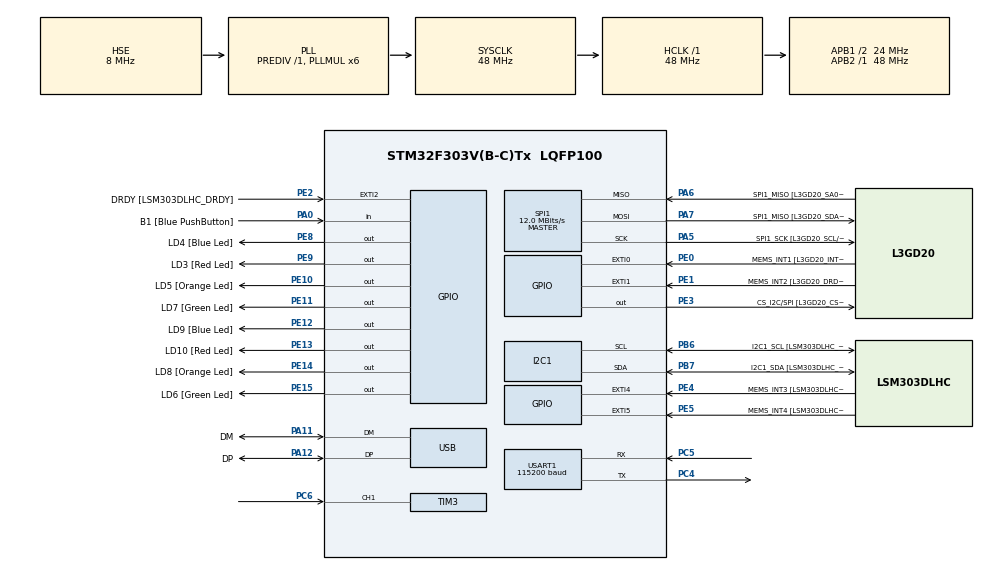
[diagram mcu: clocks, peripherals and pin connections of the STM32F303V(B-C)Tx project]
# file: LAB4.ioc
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I2C1.Timing=0x00201D2B
I2C1.Timing-I2C=0x2000090E
Mcu.Family=STM32F3
Mcu.Name=STM32F303V(B-C)Tx
Mcu.Package=LQFP100
NVIC.PriorityGroup=NVIC_PRIORITYGROUP_0
NVIC.TIM3_IRQn=true\:0\:0\:false\:false\:true\:true\:true\:true
PA0.GPIO_Label=B1 [Blue PushButton]
PA0.Signal=GPIO_Input
PA11.GPIO_Label=DM
PA11.Mode=Device
PA11.Signal=USB_DM
PA12.GPIO_Label=DP
PA12.Mode=Device
PA12.Signal=USB_DP
PA13.GPIO_Label=SWDIO
PA13.Mode=Serial_Wire
PA13.Signal=SYS_JTMS-SWDIO
PA14.GPIO_Label=SWCLK
PA14.Mode=Serial_Wire
PA14.Signal=SYS_JTCK-SWCLK
PA5.GPIO_Label=SPI1_SCK [L3GD20_SCL/SPC]
PA5.Mode=Full_Duplex_Master
PA5.Signal=SPI1_SCK
PA6.GPIO_Label=SPI1_MISO [L3GD20_SA0/SDO]
PA6.Mode=Full_Duplex_Master
PA6.Signal=SPI1_MISO
PA7.GPIO_Label=SPI1_MISO [L3GD20_SDA/SDI/SDO]
PA7.Mode=Full_Duplex_Master
PA7.Signal=SPI1_MOSI
PB3.GPIO_Label=SWO
PB3.Signal=SYS_JTDO-TRACESWO
PB6.GPIO_Label=I2C1_SCL [LSM303DLHC_SCL]
PB6.GPIO_Pu=GPIO_PULLUP
PB6.Mode=I2C
PB6.Signal=I2C1_SCL
PB7.GPIO_Label=I2C1_SDA [LSM303DLHC_SDA]
PB7.GPIO_Pu=GPIO_PULLUP
PB7.Mode=I2C
PB7.Signal=I2C1_SDA
PC14-OSC32_IN.GPIO_Label=OSC32_IN
PC14-OSC32_IN.Signal=RCC_OSC32_IN
PC15-OSC32_OUT.GPIO_Label=OSC32_OUT
PC15-OSC32_OUT.Signal=RCC_OSC32_OUT
PC4.Mode=Asynchronous
PC4.Signal=USART1_TX
PC5.Mode=Asynchronous
PC5.Signal=USART1_RX
PC6.Signal=S_TIM3_CH1
PE0.GPIO_Label=MEMS_INT1 [L3GD20_INT1]
PE0.GPIO_ModeDefaultEXTI=GPIO_MODE_EVT_RISING
PE0.Signal=GPXTI0
PE1.GPIO_Label=MEMS_INT2 [L3GD20_DRDY/INT2]
PE1.GPIO_ModeDefaultEXTI=GPIO_MODE_EVT_RISING
PE1.Signal=GPXTI1
PE10.GPIO_Label=LD5 [Orange Led]
PE10.Signal=GPIO_Output
PE11.GPIO_Label=LD7 [Green Led]
PE11.Signal=GPIO_Output
PE12.GPIO_Label=LD9 [Blue Led]
PE12.Signal=GPIO_Output
PE13.GPIO_Label=LD10 [Red Led]
PE13.Signal=GPIO_Output
PE14.GPIO_Label=LD8 [Orange Led]
PE14.Signal=GPIO_Output
PE15.GPIO_Label=LD6 [Green Led]
PE15.Signal=GPIO_Output
PE2.GPIO_Label=DRDY [LSM303DLHC_DRDY]
PE2.GPIO_ModeDefaultEXTI=GPIO_MODE_EVT_RISING
PE2.Signal=GPXTI2
PE3.GPIO_Label=CS_I2C/SPI [L3GD20_CS_I2C/SPI]
PE3.Signal=GPIO_Output
PE4.GPIO_Label=MEMS_INT3 [LSM303DLHC_INT1]
PE4.GPIO_ModeDefaultEXTI=GPIO_MODE_EVT_RISING
PE4.Signal=GPXTI4
PE5.GPIO_Label=MEMS_INT4 [LSM303DLHC_INT2]
PE5.GPIO_ModeDefaultEXTI=GPIO_MODE_EVT_RISING
PE5.Signal=GPXTI5
PE8.GPIO_Label=LD4 [Blue Led]
PE8.Signal=GPIO_Output
PE9.GPIO_Label=LD3 [Red Led]
PE9.Signal=GPIO_Output
PF0-OSC_IN.GPIO_Label=OSC_IN
PF0-OSC_IN.Mode=HSE-External-Clock-Source
PF0-OSC_IN.Signal=RCC_OSC_IN
PF1-OSC_OUT.GPIO_Label=OSC_OUT
PF1-OSC_OUT.Signal=RCC_OSC_OUT
ProjectManager.HeapSize=0x200
ProjectManager.StackSize=0x400
ProjectManager.TargetToolchain=CMake
RCC.AHBFreq_Value=48000000
RCC.APB1CLKDivider=RCC_HCLK_DIV2
RCC.APB1Freq_Value=24000000
RCC.APB1TimFreq_Value=48000000
RCC.APB2Freq_Value=48000000
RCC.APB2TimFreq_Value=48000000
RCC.CortexFreq_Value=48000000
RCC.HCLKFreq_Value=48000000
RCC.HSE_VALUE=8000000
RCC.HSI_VALUE=8000000
RCC.LSE_VALUE=32768
RCC.PLLMUL=RCC_PLL_MUL6
RCC.SYSCLKFreq_VALUE=48000000
RCC.SYSCLKSourceVirtual=RCC_SYSCLKSOURCE_PLLCLK
RCC.USBFreq_Value=48000000
SH.S_TIM3_CH1.0=TIM3_CH1,Input_Capture1_from_TI1
SPI1.BaudRatePrescaler=SPI_BAUDRATEPRESCALER_4
SPI1.BaudRatePrescaler-Full_Duplex_Master=SPI_BAUDRATEPRESCALER_2
SPI1.CalculateBaudRate=12.0 MBits/s
SPI1.CalculateBaudRate-Full_Duplex_Master=24.0 MBits/s
SPI1.Direction=SPI_DIRECTION_2LINES
SPI1.Mode=SPI_MODE_MASTER
SPI1.Mode-Full_Duplex_Master=SPI_MODE_MASTER
SPI1.VirtualType=VM_MASTER
TIM3.Channel-Input_Capture1_from_TI1=TIM_CHANNEL_1
USART1.BaudRate=115200
USART1.VirtualMode-Asynchronous=VM_ASYNC
board=STM32F3DISCOVERY

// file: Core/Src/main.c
/* USER CODE BEGIN Header */
/**
  ******************************************************************************
  * @file           : main.c
  * @brief          : Main program body
  ******************************************************************************
  * @attention
  *
  * Copyright (c) 2026 STMicroelectronics.
  * All rights reserved.
  *
  * This software is licensed under terms that can be found in the LICENSE file
  * in the root directory of this software component.
  * If no LICENSE file comes with this software, it is provided AS-IS.
  *
  ******************************************************************************
  */
/* USER CODE END Header */
#include "main.h"

/* USER CODE BEGIN Includes */
#include <stdio.h>
/* USER CODE END Includes */

I2C_HandleTypeDef hi2c1;

SPI_HandleTypeDef hspi1;

TIM_HandleTypeDef htim3;

UART_HandleTypeDef huart1;

PCD_HandleTypeDef hpcd_USB_FS;

/* USER CODE BEGIN PV */

//TASK3
// volatile uint32_t countA = 0;
// volatile uint32_t countB = 0;
// volatile uint32_t countC = 0;

volatile uint32_t last_capture = 0;
volatile uint32_t period_ticks = 0;
volatile uint32_t frequency_hz = 0;

#define TIM3_TICK_HZ 1000000UL

/* USER CODE END PV */

void SystemClock_Config(void);
static void MX_GPIO_Init(void);
static void MX_I2C1_Init(void);
static void MX_SPI1_Init(void);
static void MX_USB_PCD_Init(void);
static void MX_TIM3_Init(void);
static void MX_USART1_UART_Init(void);

/* USER CODE BEGIN 0 */
// Redirect printf to UART terminal
int _write(int file, char *ptr, int len)
{
    HAL_UART_Transmit(&huart1, (uint8_t *)ptr, len, HAL_MAX_DELAY);
    return len;
}
// int _write(int file, char *ptr, int len)
// {
//     HAL_UART_Transmit(&huart1, (uint8_t *)ptr, len, HAL_MAX_DELAY);
//     return len;
// }
//task2
  // void HAL_TIM_PeriodElapsedCallback(TIM_HandleTypeDef *htim)
  // {
  //   if (htim -> Instance == TIM2) {
  //     HAL_GPIO_TogglePin(GPIOE,LD6_Pin);
  //   }
  // }

  //TASK3
  // void HAL_TIM_PeriodElapsedCallback(TIM_HandleTypeDef *htim)
  // {
  //   if (htim->Instance == TIM2)
  //     {

  //         countA++;
  //         countB++;
  //         countC++;
  //         // ORANGE LED 500 ms (1 Hz frequency)
  //         if (countA >= 500)
  //         {
  //             HAL_GPIO_TogglePin(LD5_GPIO_Port, LD5_Pin);
  //             countA = 0;
  //         }

  //         // RED LED 200 ms (2.5 Hz frequency)
  //         if (countB >= 200)
  //         {
  //             HAL_GPIO_TogglePin(LD3_GPIO_Port, LD3_Pin);
  //             countB = 0;
  //         }

  //         // BLUE LED 100 ms (5 Hz frequency)
  //         if (countC >= 100)
  //         {
  //             HAL_GPIO_TogglePin(LD4_GPIO_Port, LD4_Pin);
  //             countC = 0;
  //         }
  //     }
  // }

  //TASK4
  //uint32_t last_capture = 0, period = 0;
  // void HAL_TIM_IC_CaptureCallback ( TIM_HandleTypeDef *htim) {
  //   if (htim -> Channel == HAL_TIM_ACTIVE_CHANNEL_1 ) {
  //     uint32_t current_capture = HAL_TIM_ReadCapturedValue (htim ,TIM_CHANNEL_1 );
  //     period = current_capture - last_capture ;
  //     last_capture = current_capture ;
  //   }
  // }

void HAL_TIM_IC_CaptureCallback(TIM_HandleTypeDef *htim)
{
    if (htim->Instance == TIM3 &&
        htim->Channel == HAL_TIM_ACTIVE_CHANNEL_1)
    {
        uint32_t current_capture =
            HAL_TIM_ReadCapturedValue(htim, TIM_CHANNEL_1);

        if (current_capture >= last_capture)
        {
            period_ticks = current_capture - last_capture;
        }
        else
        {
            period_ticks =
                (htim->Instance->ARR + 1U - last_capture)
                + current_capture;
        }

        last_capture = current_capture;

        if (period_ticks != 0)
        {
            frequency_hz = TIM3_TICK_HZ / period_ticks;
        }
    }
}
/* USER CODE END 0 */

int main(void)
{

  /* USER CODE BEGIN 1 */

  //task1
  // void delay_ms( uint32_t ms)
  // {
  //   __HAL_TIM_SET_COUNTER(&htim2, 0); //resets to 0

  //   HAL_TIM_Base_Start(&htim2); //starts the timer

  //   while (__HAL_TIM_GET_COUNTER(&htim2) < ms){

  //   }

  //   HAL_TIM_Base_Stop(&htim2);

  // }

  /* USER CODE END 1 */

  /* MCU Configuration--------------------------------------------------------*/

  /* Reset of all peripherals, Initializes the Flash interface and the Systick. */
  HAL_Init();

  /* Configure the system clock */
  SystemClock_Config();

  /* Initialize all configured peripherals */
  MX_GPIO_Init();
  MX_I2C1_Init();
  MX_SPI1_Init();
  MX_USB_PCD_Init();
  MX_TIM3_Init();
  MX_USART1_UART_Init();
  /* USER CODE BEGIN 2 */

  //task2 AND TASK3
  // HAL_TIM_Base_Start_IT (& htim2);

  //task4
  HAL_TIM_IC_Start_IT (& htim3 , TIM_CHANNEL_1 );

  /* USER CODE END 2 */

  /* Infinite loop */
  while (1)
  {

    /* USER CODE BEGIN 3 */

    //task 1
    //HAL_GPIO_TogglePin(LD9_GPIO_Port, LD9_Pin);
    //delay_ms(1000); // 1-second delays
    printf("HELLO FROM STM32!\r\n");
    HAL_Delay(1000);

    // task 4
    printf("Period: %lu us | Frequency: %lu Hz\r\n",
           period_ticks, frequency_hz);

    HAL_Delay(200);

  }
  /* USER CODE END 3 */
}

void SystemClock_Config(void)
{
  RCC_OscInitTypeDef RCC_OscInitStruct = {0};
  RCC_ClkInitTypeDef RCC_ClkInitStruct = {0};
  RCC_PeriphCLKInitTypeDef PeriphClkInit = {0};

  /** Initializes the RCC Oscillators according to the specified parameters
  * in the RCC_OscInitTypeDef structure.
  */
  RCC_OscInitStruct.OscillatorType = RCC_OSCILLATORTYPE_HSI|RCC_OSCILLATORTYPE_HSE;
  RCC_OscInitStruct.HSEState = RCC_HSE_BYPASS;
  RCC_OscInitStruct.HSEPredivValue = RCC_HSE_PREDIV_DIV1;
  RCC_OscInitStruct.HSIState = RCC_HSI_ON;
  RCC_OscInitStruct.HSICalibrationValue = RCC_HSICALIBRATION_DEFAULT;
  RCC_OscInitStruct.PLL.PLLState = RCC_PLL_ON;
  RCC_OscInitStruct.PLL.PLLSource = RCC_PLLSOURCE_HSE;
  RCC_OscInitStruct.PLL.PLLMUL = RCC_PLL_MUL6;
  if (HAL_RCC_OscConfig(&RCC_OscInitStruct) != HAL_OK)
  {
    Error_Handler();
  }

  /** Initializes the CPU, AHB and APB buses clocks
  */
  RCC_ClkInitStruct.ClockType = RCC_CLOCKTYPE_HCLK|RCC_CLOCKTYPE_SYSCLK
                              |RCC_CLOCKTYPE_PCLK1|RCC_CLOCKTYPE_PCLK2;
  RCC_ClkInitStruct.SYSCLKSource = RCC_SYSCLKSOURCE_PLLCLK;
  RCC_ClkInitStruct.AHBCLKDivider = RCC_SYSCLK_DIV1;
  RCC_ClkInitStruct.APB1CLKDivider = RCC_HCLK_DIV2;
  RCC_ClkInitStruct.APB2CLKDivider = RCC_HCLK_DIV1;

  if (HAL_RCC_ClockConfig(&RCC_ClkInitStruct, FLASH_LATENCY_1) != HAL_OK)
  {
    Error_Handler();
  }
  PeriphClkInit.PeriphClockSelection = RCC_PERIPHCLK_USB|RCC_PERIPHCLK_USART1
                              |RCC_PERIPHCLK_I2C1;
  PeriphClkInit.Usart1ClockSelection = RCC_USART1CLKSOURCE_PCLK2;
  PeriphClkInit.I2c1ClockSelection = RCC_I2C1CLKSOURCE_HSI;
  PeriphClkInit.USBClockSelection = RCC_USBCLKSOURCE_PLL;
  if (HAL_RCCEx_PeriphCLKConfig(&PeriphClkInit) != HAL_OK)
  {
    Error_Handler();
  }
}

static void MX_I2C1_Init(void)
{

  hi2c1.Instance = I2C1;
  hi2c1.Init.Timing = 0x00201D2B;
  hi2c1.Init.OwnAddress1 = 0;
  hi2c1.Init.AddressingMode = I2C_ADDRESSINGMODE_7BIT;
  hi2c1.Init.DualAddressMode = I2C_DUALADDRESS_DISABLE;
  hi2c1.Init.OwnAddress2 = 0;
  hi2c1.Init.OwnAddress2Masks = I2C_OA2_NOMASK;
  hi2c1.Init.GeneralCallMode = I2C_GENERALCALL_DISABLE;
  hi2c1.Init.NoStretchMode = I2C_NOSTRETCH_DISABLE;
  if (HAL_I2C_Init(&hi2c1) != HAL_OK)
  {
    Error_Handler();
  }

  /** Configure Analogue filter
  */
  if (HAL_I2CEx_ConfigAnalogFilter(&hi2c1, I2C_ANALOGFILTER_ENABLE) != HAL_OK)
  {
    Error_Handler();
  }

  /** Configure Digital filter
  */
  if (HAL_I2CEx_ConfigDigitalFilter(&hi2c1, 0) != HAL_OK)
  {
    Error_Handler();
  }

}

static void MX_SPI1_Init(void)
{

  /* SPI1 parameter configuration*/
  hspi1.Instance = SPI1;
  hspi1.Init.Mode = SPI_MODE_MASTER;
  hspi1.Init.Direction = SPI_DIRECTION_2LINES;
  hspi1.Init.DataSize = SPI_DATASIZE_4BIT;
  hspi1.Init.CLKPolarity = SPI_POLARITY_LOW;
  hspi1.Init.CLKPhase = SPI_PHASE_1EDGE;
  hspi1.Init.NSS = SPI_NSS_SOFT;
  hspi1.Init.BaudRatePrescaler = SPI_BAUDRATEPRESCALER_4;
  hspi1.Init.FirstBit = SPI_FIRSTBIT_MSB;
  hspi1.Init.TIMode = SPI_TIMODE_DISABLE;
  hspi1.Init.CRCCalculation = SPI_CRCCALCULATION_DISABLE;
  hspi1.Init.CRCPolynomial = 7;
  hspi1.Init.CRCLength = SPI_CRC_LENGTH_DATASIZE;
  hspi1.Init.NSSPMode = SPI_NSS_PULSE_ENABLE;
  if (HAL_SPI_Init(&hspi1) != HAL_OK)
  {
    Error_Handler();
  }

}

static void MX_TIM3_Init(void)
{

  TIM_MasterConfigTypeDef sMasterConfig = {0};
  TIM_IC_InitTypeDef sConfigIC = {0};

  htim3.Instance = TIM3;
  htim3.Init.Prescaler = 47;
  htim3.Init.CounterMode = TIM_COUNTERMODE_UP;
  htim3.Init.Period = 65535;
  htim3.Init.ClockDivision = TIM_CLOCKDIVISION_DIV1;
  htim3.Init.AutoReloadPreload = TIM_AUTORELOAD_PRELOAD_DISABLE;
  if (HAL_TIM_IC_Init(&htim3) != HAL_OK)
  {
    Error_Handler();
  }
  sMasterConfig.MasterOutputTrigger = TIM_TRGO_RESET;
  sMasterConfig.MasterSlaveMode = TIM_MASTERSLAVEMODE_DISABLE;
  if (HAL_TIMEx_MasterConfigSynchronization(&htim3, &sMasterConfig) != HAL_OK)
  {
    Error_Handler();
  }
  sConfigIC.ICPolarity = TIM_INPUTCHANNELPOLARITY_RISING;
  sConfigIC.ICSelection = TIM_ICSELECTION_DIRECTTI;
  sConfigIC.ICPrescaler = TIM_ICPSC_DIV1;
  sConfigIC.ICFilter = 0;
  if (HAL_TIM_IC_ConfigChannel(&htim3, &sConfigIC, TIM_CHANNEL_1) != HAL_OK)
  {
    Error_Handler();
  }

}

static void MX_USART1_UART_Init(void)
{

  huart1.Instance = USART1;
  huart1.Init.BaudRate = 115200;
  huart1.Init.WordLength = UART_WORDLENGTH_8B;
  huart1.Init.StopBits = UART_STOPBITS_1;
  huart1.Init.Parity = UART_PARITY_NONE;
  huart1.Init.Mode = UART_MODE_TX_RX;
  huart1.Init.HwFlowCtl = UART_HWCONTROL_NONE;
  huart1.Init.OverSampling = UART_OVERSAMPLING_16;
  huart1.Init.OneBitSampling = UART_ONE_BIT_SAMPLE_DISABLE;
  huart1.AdvancedInit.AdvFeatureInit = UART_ADVFEATURE_NO_INIT;
  if (HAL_UART_Init(&huart1) != HAL_OK)
  {
    Error_Handler();
  }

}

static void MX_USB_PCD_Init(void)
{

  hpcd_USB_FS.Instance = USB;
  hpcd_USB_FS.Init.dev_endpoints = 8;
  hpcd_USB_FS.Init.speed = PCD_SPEED_FULL;
  hpcd_USB_FS.Init.phy_itface = PCD_PHY_EMBEDDED;
  hpcd_USB_FS.Init.low_power_enable = DISABLE;
  hpcd_USB_FS.Init.battery_charging_enable = DISABLE;
  if (HAL_PCD_Init(&hpcd_USB_FS) != HAL_OK)
  {
    Error_Handler();
  }

}

static void MX_GPIO_Init(void)
{
  GPIO_InitTypeDef GPIO_InitStruct = {0};

  /* GPIO Ports Clock Enable */
  __HAL_RCC_GPIOE_CLK_ENABLE();
  __HAL_RCC_GPIOC_CLK_ENABLE();
  __HAL_RCC_GPIOF_CLK_ENABLE();
  __HAL_RCC_GPIOA_CLK_ENABLE();
  __HAL_RCC_GPIOB_CLK_ENABLE();

  /*Configure GPIO pin Output Level */
  HAL_GPIO_WritePin(GPIOE, CS_I2C_SPI_Pin|LD4_Pin|LD3_Pin|LD5_Pin
                          |LD7_Pin|LD9_Pin|LD10_Pin|LD8_Pin
                          |LD6_Pin, GPIO_PIN_RESET);

  /*Configure GPIO pins : DRDY_Pin MEMS_INT3_Pin MEMS_INT4_Pin MEMS_INT1_Pin
                           MEMS_INT2_Pin */
  GPIO_InitStruct.Pin = DRDY_Pin|MEMS_INT3_Pin|MEMS_INT4_Pin|MEMS_INT1_Pin
                          |MEMS_INT2_Pin;
  GPIO_InitStruct.Mode = GPIO_MODE_EVT_RISING;
  GPIO_InitStruct.Pull = GPIO_NOPULL;
  HAL_GPIO_Init(GPIOE, &GPIO_InitStruct);

  /*Configure GPIO pins : CS_I2C_SPI_Pin LD4_Pin LD3_Pin LD5_Pin
                           LD7_Pin LD9_Pin LD10_Pin LD8_Pin
                           LD6_Pin */
  GPIO_InitStruct.Pin = CS_I2C_SPI_Pin|LD4_Pin|LD3_Pin|LD5_Pin
                          |LD7_Pin|LD9_Pin|LD10_Pin|LD8_Pin
                          |LD6_Pin;
  GPIO_InitStruct.Mode = GPIO_MODE_OUTPUT_PP;
  GPIO_InitStruct.Pull = GPIO_NOPULL;
  GPIO_InitStruct.Speed = GPIO_SPEED_FREQ_LOW;
  HAL_GPIO_Init(GPIOE, &GPIO_InitStruct);

  /*Configure GPIO pin : B1_Pin */
  GPIO_InitStruct.Pin = B1_Pin;
  GPIO_InitStruct.Mode = GPIO_MODE_INPUT;
  GPIO_InitStruct.Pull = GPIO_NOPULL;
  HAL_GPIO_Init(B1_GPIO_Port, &GPIO_InitStruct);

}

void Error_Handler(void)
{
  __disable_irq();
  while (1)
  {
  }
}
